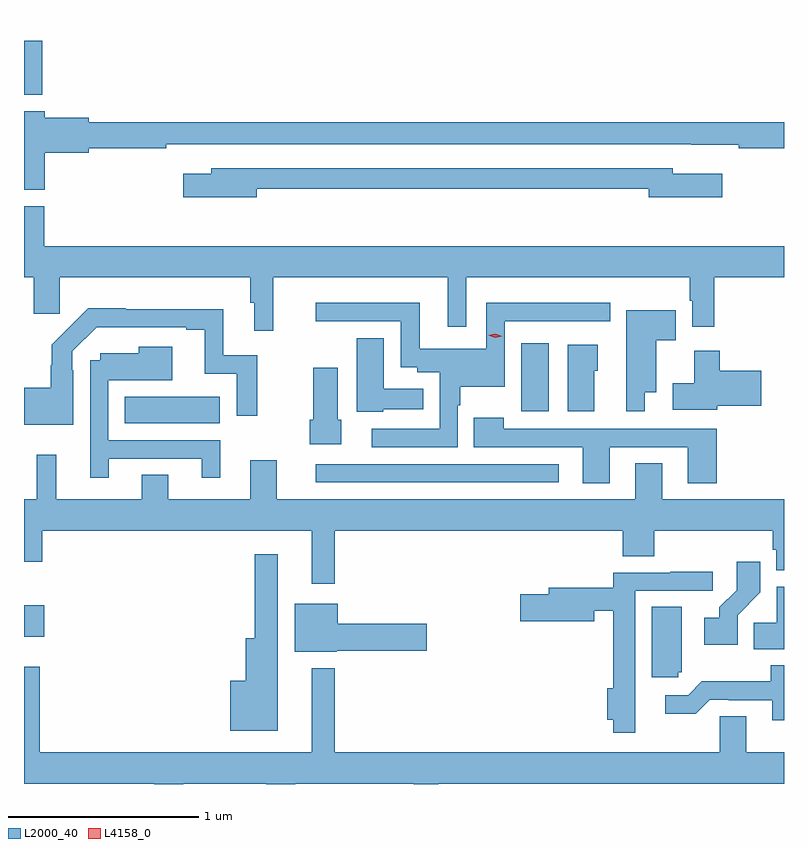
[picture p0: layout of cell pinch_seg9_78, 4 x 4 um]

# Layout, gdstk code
import gdstk
lib = gdstk.Library(unit=1e-6, precision=1e-09)
def R(c, l, rs):  # rectangles x0, y0, x1, y1
    for r in rs: c.add(gdstk.rectangle(r[:2], r[2:], *l))
def P(c, l, *ps):  # polygons
    for p in ps: c.add(gdstk.Polygon(p, *l))
L2000_40 = (2000, 40)
L4158_0 = (4158, 0)

pinch_seg9_78 = lib.new_cell('pinch_seg9_78')
R(pinch_seg9_78, L2000_40, [(1040.511,1191.866,1040.617,1192.03), (1042.047,1192.677,1043.326,1192.773), (1041.04,1192.988,1041.541,1193.128), (1043.129,1193.052,1043.272,1193.41), (1040.511,1194.717,1040.606,1195.003), (1040.511,1195.088,1044.511,1195.09)])
P(pinch_seg9_78, L2000_40, [(1040.621,1194.413),(1040.851,1194.413),(1040.851,1194.436),(1041.26,1194.436),(1041.26,1194.456),(1044.022,1194.456),(1044.022,1194.455),(1044.274,1194.455),(1044.274,1194.436),(1044.511,1194.436),(1044.511,1194.572),(1040.851,1194.572),(1040.851,1194.596),(1040.621,1194.596),(1040.621,1194.632),(1040.511,1194.632),(1040.511,1194.217),(1040.621,1194.217)],
  [(1041.736,1194.222),(1043.798,1194.222),(1043.798,1194.179),(1044.187,1194.179),(1044.187,1194.301),(1043.926,1194.301),(1043.926,1194.33),(1041.497,1194.33),(1041.497,1194.301),(1041.348,1194.301),(1041.348,1194.179),(1041.736,1194.179)],
  [(1041.822,1193.756),(1042.742,1193.756),(1042.742,1193.496),(1042.839,1193.496),(1042.839,1193.756),(1044.015,1193.756),(1044.015,1193.634),(1044.027,1193.634),(1044.027,1193.496),(1044.143,1193.496),(1044.143,1193.756),(1044.511,1193.756),(1044.511,1193.92),(1040.618,1193.92),(1040.618,1194.132),(1040.511,1194.132),(1040.511,1193.756),(1040.561,1193.756),(1040.561,1193.565),(1040.699,1193.565),(1040.699,1193.756),(1041.703,1193.756),(1041.703,1193.624),(1041.722,1193.624),(1041.722,1193.475),(1041.822,1193.475)],
  [(1042.794,1193.084),(1042.807,1193.084),(1042.807,1193.18),(1043.04,1193.18),(1043.04,1193.526),(1043.596,1193.526),(1043.596,1193.623),(1042.944,1193.623),(1042.944,1193.38),(1042.594,1193.38),(1042.594,1193.623),(1042.047,1193.623),(1042.047,1193.526),(1042.493,1193.526),(1042.493,1193.283),(1042.581,1193.283),(1042.581,1193.258),(1042.698,1193.258),(1042.698,1192.959),(1042.341,1192.959),(1042.341,1192.863),(1042.794,1192.863)],
  [(1040.769,1193.267),(1040.766,1193.267),(1040.766,1193.367),(1040.894,1193.495),(1040.995,1193.495),(1040.995,1193.493),(1041.365,1193.493),(1041.365,1193.481),(1041.461,1193.481),(1041.461,1193.25),(1041.63,1193.25),(1041.63,1193.028),(1041.739,1193.028),(1041.739,1193.346),(1041.559,1193.346),(1041.559,1193.59),(1041.047,1193.59),(1041.047,1193.593),(1040.848,1193.593),(1040.658,1193.403),(1040.658,1193.294),(1040.651,1193.294),(1040.651,1193.176),(1040.511,1193.176),(1040.511,1192.982),(1040.769,1192.982)],
  [(1043.779,1193.153),(1043.839,1193.153),(1043.839,1193.426),(1043.942,1193.426),(1043.942,1193.584),(1043.681,1193.584),(1043.681,1193.052),(1043.779,1193.052)],
  [(1042.401,1193.063),(1042.612,1193.063),(1042.612,1193.17),(1042.405,1193.17),(1042.405,1193.437),(1042.262,1193.437),(1042.262,1193.048),(1042.401,1193.048)],
  [(1043.512,1193.265),(1043.53,1193.265),(1043.53,1193.401),(1043.372,1193.401),(1043.372,1193.052),(1043.512,1193.052)],
  [(1040.956,1192.803),(1041.446,1192.803),(1041.446,1192.701),(1041.544,1192.701),(1041.544,1192.899),(1040.955,1192.899),(1040.955,1193.216),(1041.292,1193.216),(1041.292,1193.392),(1041.116,1193.392),(1041.116,1193.356),(1040.913,1193.356),(1040.913,1193.319),(1040.859,1193.319),(1040.859,1192.701),(1040.956,1192.701)],
  [(1044.16,1193.081),(1044.391,1193.081),(1044.391,1193.264),(1044.173,1193.264),(1044.173,1193.371),(1044.038,1193.371),(1044.038,1193.2),(1043.925,1193.2),(1043.925,1193.06),(1044.16,1193.06)],
  [(1042.18,1193.007),(1042.162,1193.007),(1042.162,1193.281),(1042.033,1193.281),(1042.033,1193.007),(1042.015,1193.007),(1042.015,1192.877),(1042.18,1192.877)],
  [(1043.593,1192.863),(1044.005,1192.863),(1044.005,1192.674),(1044.158,1192.674),(1044.158,1192.959),(1043.036,1192.959),(1043.036,1193.017),(1042.879,1193.017),(1042.879,1192.863),(1043.453,1192.863),(1043.453,1192.674),(1043.593,1192.674)],
  [(1040.606,1192.424),(1042.025,1192.424),(1042.025,1192.143),(1042.147,1192.143),(1042.147,1192.424),(1043.663,1192.424),(1043.663,1192.288),(1043.828,1192.288),(1043.828,1192.424),(1044.451,1192.424),(1044.451,1192.323),(1044.471,1192.323),(1044.471,1192.214),(1044.511,1192.214),(1044.511,1192.588),(1043.869,1192.588),(1043.869,1192.778),(1043.729,1192.778),(1043.729,1192.588),(1041.841,1192.588),(1041.841,1192.795),(1041.701,1192.795),(1041.701,1192.588),(1041.271,1192.588),(1041.271,1192.718),(1041.131,1192.718),(1041.131,1192.588),(1040.68,1192.588),(1040.68,1192.822),(1040.578,1192.822),(1040.578,1192.588),(1040.511,1192.588),(1040.511,1192.26),(1040.606,1192.26)],
  [(1041.847,1192.3),(1041.726,1192.3),(1041.726,1191.856),(1041.677,1191.856),(1041.677,1191.634),(1041.596,1191.634),(1041.596,1191.371),(1041.847,1191.371)],
  [(1044.267,1191.979),(1044.386,1192.098),(1044.386,1192.261),(1044.261,1192.261),(1044.261,1192.109),(1044.17,1192.019),(1044.17,1191.964),(1044.09,1191.964),(1044.09,1191.824),(1044.267,1191.824)],
  [(1043.728,1191.582),(1043.727,1191.582),(1043.727,1192.107),(1044.136,1192.107),(1044.136,1192.206),(1043.911,1192.206),(1043.911,1192.203),(1043.611,1192.203),(1043.611,1192.123),(1043.273,1192.123),(1043.273,1192.089),(1043.124,1192.089),(1043.124,1191.947),(1043.512,1191.947),(1043.512,1192.002),(1043.611,1192.002),(1043.611,1191.594),(1043.582,1191.594),(1043.582,1191.428),(1043.611,1191.428),(1043.611,1191.36),(1043.728,1191.36)],
  [(1044.511,1192.129),(1044.473,1192.129),(1044.473,1191.938),(1044.352,1191.938),(1044.352,1191.8),(1044.511,1191.8)],
  [(1042.158,1191.791),(1042.632,1191.791),(1042.632,1191.933),(1042.162,1191.933),(1042.162,1192.039),(1041.935,1192.039),(1041.935,1191.785),(1042.158,1191.785)],
  [(1043.955,1191.678),(1043.974,1191.678),(1043.974,1192.022),(1043.816,1192.022),(1043.816,1191.651),(1043.955,1191.651)],
  [(1044.511,1191.715),(1044.442,1191.715),(1044.442,1191.631),(1044.079,1191.631),(1044.006,1191.558),(1043.886,1191.558),(1043.886,1191.461),(1044.047,1191.461),(1044.12,1191.534),(1044.22,1191.534),(1044.22,1191.531),(1044.449,1191.531),(1044.449,1191.426),(1044.511,1191.426)],
  [(1041.349,1191.092),(1041.785,1191.092),(1041.785,1191.09),(1041.938,1191.09),(1041.938,1191.092),(1042.561,1191.092),(1042.561,1191.09),(1042.69,1191.09),(1042.69,1191.092),(1044.511,1191.092),(1044.511,1191.256),(1044.313,1191.256),(1044.313,1191.446),(1044.174,1191.446),(1044.174,1191.256),(1042.147,1191.256),(1042.147,1191.7),(1042.025,1191.7),(1042.025,1191.256),(1040.593,1191.256),(1040.593,1191.706),(1040.511,1191.706),(1040.511,1191.092),(1041.197,1191.092),(1041.197,1191.09),(1041.349,1191.09)])
P(pinch_seg9_78, L4158_0, [(1042.99,1193.439),(1042.955,1193.452),(1042.955,1193.452),(1042.955,1193.452),(1042.992,1193.459),(1043.027,1193.447),(1043.027,1193.446),(1043.027,1193.446)])

lib.write_gds('pinch_seg9_78.gds')
